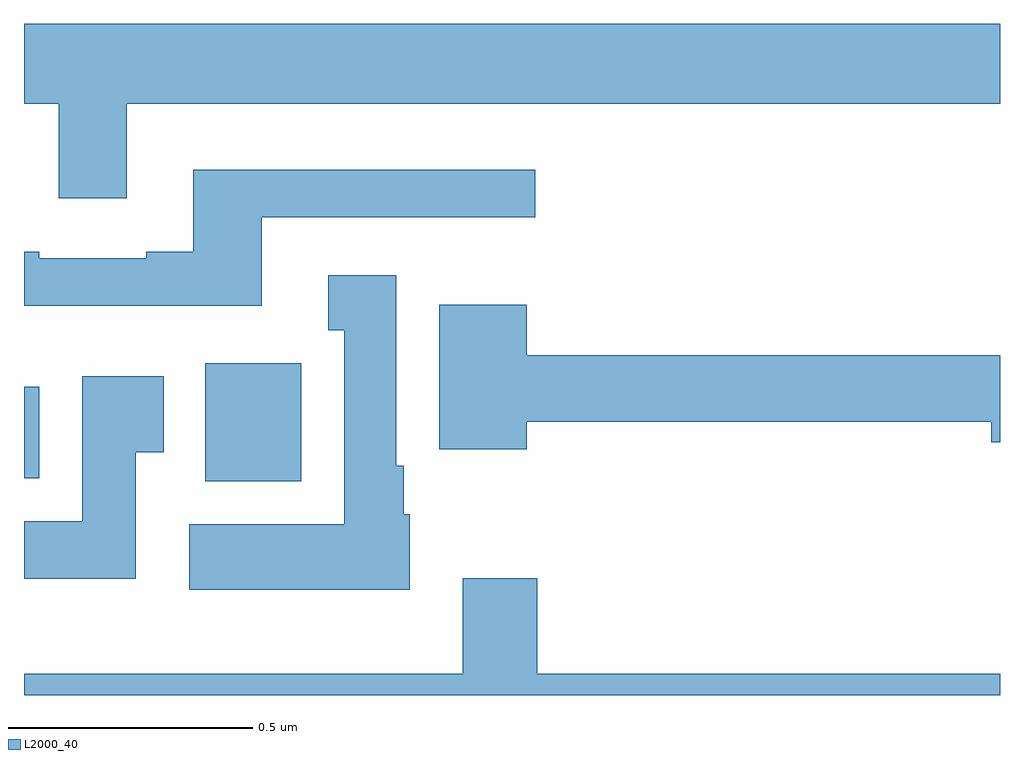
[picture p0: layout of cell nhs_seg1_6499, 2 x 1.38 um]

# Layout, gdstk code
import gdstk
lib = gdstk.Library(unit=1e-6, precision=1e-09)
def R(c, l, rs):  # rectangles x0, y0, x1, y1
    for r in rs: c.add(gdstk.rectangle(r[:2], r[2:], *l))
def P(c, l, *ps):  # polygons
    for p in ps: c.add(gdstk.Polygon(p, *l))
L2000_40 = (2000, 40)

nhs_seg1_6499 = lib.new_cell('nhs_seg1_6499')
R(nhs_seg1_6499, L2000_40, [(192.371,537.638,192.568,537.88), (192,537.644,192.031,537.832)])
P(nhs_seg1_6499, L2000_40, [(192.211,538.412),(194,538.412),(194,538.576),(192,538.576),(192,538.412),(192.071,538.412),(192.071,538.218),(192.211,538.218)],
  [(192.487,538.179),(193.048,538.179),(193.048,538.276),(192.347,538.276),(192.347,538.108),(192.251,538.108),(192.251,538.095),(192.031,538.095),(192.031,538.108),(192,538.108),(192,537.998),(192.487,537.998)],
  [(192.79,537.57),(192.778,537.57),(192.778,537.67),(192.763,537.67),(192.763,538.06),(192.623,538.06),(192.623,537.947),(192.656,537.947),(192.656,537.55),(192.339,537.55),(192.339,537.416),(192.79,537.416)],
  [(193.03,537.76),(193.982,537.76),(193.982,537.718),(194,537.718),(194,537.896),(193.03,537.896),(193.03,538),(192.851,538),(192.851,537.704),(193.03,537.704)],
  [(192.229,537.697),(192.286,537.697),(192.286,537.853),(192.119,537.853),(192.119,537.556),(192,537.556),(192,537.438),(192.229,537.438)],
  [(194,537.244),(193.052,537.244),(193.052,537.439),(192.899,537.439),(192.899,537.244),(192,537.244),(192,537.199),(194,537.199)])

lib.write_gds('nhs_seg1_6499.gds')
